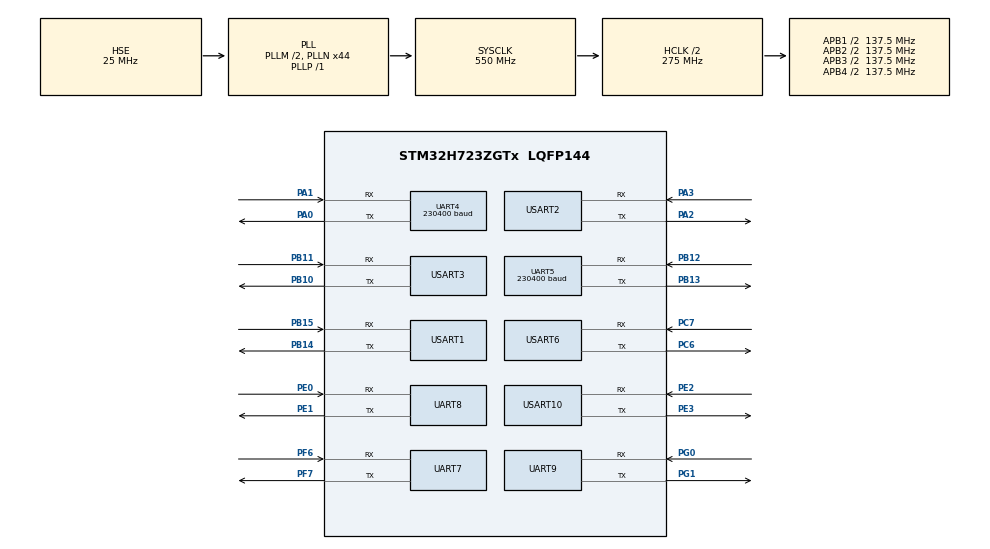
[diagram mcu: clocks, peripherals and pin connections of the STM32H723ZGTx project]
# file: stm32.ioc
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CORTEX_M7.default_mode_Activation=1
Dma.Request0=UART4_RX
Dma.Request1=UART5_TX
Dma.UART4_RX.0.Direction=DMA_PERIPH_TO_MEMORY
Dma.UART4_RX.0.EventEnable=DISABLE
Dma.UART4_RX.0.FIFOMode=DMA_FIFOMODE_DISABLE
Dma.UART4_RX.0.Instance=DMA1_Stream0
Dma.UART4_RX.0.MemDataAlignment=DMA_MDATAALIGN_BYTE
Dma.UART4_RX.0.MemInc=DMA_MINC_ENABLE
Dma.UART4_RX.0.Mode=DMA_CIRCULAR
Dma.UART4_RX.0.PeriphDataAlignment=DMA_PDATAALIGN_BYTE
Dma.UART4_RX.0.PeriphInc=DMA_PINC_DISABLE
Dma.UART4_RX.0.Polarity=HAL_DMAMUX_REQ_GEN_RISING
Dma.UART4_RX.0.Priority=DMA_PRIORITY_LOW
Dma.UART4_RX.0.RequestNumber=1
Dma.UART4_RX.0.SignalID=NONE
Dma.UART4_RX.0.SyncEnable=DISABLE
Dma.UART4_RX.0.SyncPolarity=HAL_DMAMUX_SYNC_NO_EVENT
Dma.UART4_RX.0.SyncRequestNumber=1
Dma.UART4_RX.0.SyncSignalID=NONE
Dma.UART5_TX.1.Direction=DMA_MEMORY_TO_PERIPH
Dma.UART5_TX.1.EventEnable=DISABLE
Dma.UART5_TX.1.FIFOMode=DMA_FIFOMODE_DISABLE
Dma.UART5_TX.1.Instance=DMA1_Stream1
Dma.UART5_TX.1.MemDataAlignment=DMA_MDATAALIGN_BYTE
Dma.UART5_TX.1.MemInc=DMA_MINC_ENABLE
Dma.UART5_TX.1.Mode=DMA_NORMAL
Dma.UART5_TX.1.PeriphDataAlignment=DMA_PDATAALIGN_BYTE
Dma.UART5_TX.1.PeriphInc=DMA_PINC_DISABLE
Dma.UART5_TX.1.Polarity=HAL_DMAMUX_REQ_GEN_RISING
Dma.UART5_TX.1.Priority=DMA_PRIORITY_LOW
Dma.UART5_TX.1.RequestNumber=1
Dma.UART5_TX.1.SignalID=NONE
Dma.UART5_TX.1.SyncEnable=DISABLE
Dma.UART5_TX.1.SyncPolarity=HAL_DMAMUX_SYNC_NO_EVENT
Dma.UART5_TX.1.SyncRequestNumber=1
Dma.UART5_TX.1.SyncSignalID=NONE
Mcu.Family=STM32H7
Mcu.Name=STM32H723ZGTx
Mcu.Package=LQFP144
NVIC.DMA1_Stream0_IRQn=true\:0\:0\:false\:false\:true\:false\:true\:true
NVIC.DMA1_Stream1_IRQn=true\:0\:0\:false\:false\:true\:false\:true\:true
NVIC.PriorityGroup=NVIC_PRIORITYGROUP_4
NVIC.UART4_IRQn=true\:0\:0\:false\:false\:true\:true\:true\:true
NVIC.UART5_IRQn=true\:0\:0\:false\:false\:true\:true\:true\:true
PA0.Mode=Asynchronous
PA0.Signal=UART4_TX
PA1.Mode=Asynchronous
PA1.Signal=UART4_RX
PA13(JTMS/SWDIO).Mode=Serial_Wire
PA13(JTMS/SWDIO).Signal=DEBUG_JTMS-SWDIO
PA14(JTCK/SWCLK).Mode=Serial_Wire
PA14(JTCK/SWCLK).Signal=DEBUG_JTCK-SWCLK
PA2.Mode=Asynchronous
PA2.Signal=USART2_TX
PA3.Mode=Asynchronous
PA3.Signal=USART2_RX
PB10.Mode=Asynchronous
PB10.Signal=USART3_TX
PB11.Mode=Asynchronous
PB11.Signal=USART3_RX
PB12.Mode=Asynchronous
PB12.Signal=UART5_RX
PB13.Mode=Asynchronous
PB13.Signal=UART5_TX
PB14.Mode=Asynchronous
PB14.Signal=USART1_TX
PB15.Mode=Asynchronous
PB15.Signal=USART1_RX
PC6.Mode=Asynchronous
PC6.Signal=USART6_TX
PC7.Mode=Asynchronous
PC7.Signal=USART6_RX
PE0.Mode=Asynchronous
PE0.Signal=UART8_RX
PE1.Mode=Asynchronous
PE1.Signal=UART8_TX
PE2.Mode=Asynchronous
PE2.Signal=USART10_RX
PE3.Mode=Asynchronous
PE3.Signal=USART10_TX
PF6.Mode=Asynchronous
PF6.Signal=UART7_RX
PF7.Mode=Asynchronous
PF7.Signal=UART7_TX
PG0.Mode=Asynchronous
PG0.Signal=UART9_RX
PG1.Mode=Asynchronous
PG1.Signal=UART9_TX
PH0-OSC_IN.Mode=HSE-External-Oscillator
PH0-OSC_IN.Signal=RCC_OSC_IN
PH1-OSC_OUT.Mode=HSE-External-Oscillator
PH1-OSC_OUT.Signal=RCC_OSC_OUT
ProjectManager.HeapSize=0x200
ProjectManager.StackSize=0x400
ProjectManager.TargetToolchain=CMake
RCC.ADCFreq_Value=50390625
RCC.APB1Freq_Value=137500000
RCC.APB2Freq_Value=137500000
RCC.APB3Freq_Value=137500000
RCC.APB4Freq_Value=137500000
RCC.CortexFreq_Value=550000000
RCC.D1PPRE=RCC_APB3_DIV2
RCC.D2PPRE1=RCC_APB1_DIV2
RCC.D2PPRE2=RCC_APB2_DIV2
RCC.D3PPRE=RCC_APB4_DIV2
RCC.DIVM1=2
RCC.DIVN1=44
RCC.DIVP1=1
RCC.HCLKFreq_Value=275000000
RCC.HPRE=RCC_HCLK_DIV2
RCC.PLL2FRACN=0
RCC.PLL3FRACN=0
RCC.PLLFRACN=0
RCC.PLLSourceVirtual=RCC_PLLSOURCE_HSE
RCC.SYSCLKFreq_VALUE=550000000
RCC.SYSCLKSource=RCC_SYSCLKSOURCE_PLLCLK
RCC.USBFreq_Value=275000000
UART4.BaudRate=230400
UART5.BaudRate=230400
USART1.VirtualMode-Asynchronous=VM_ASYNC
USART10.VirtualMode-Asynchronous=VM_ASYNC
USART2.VirtualMode-Asynchronous=VM_ASYNC
USART3.VirtualMode-Asynchronous=VM_ASYNC
USART6.VirtualMode-Asynchronous=VM_ASYNC
VP_MEMORYMAP_VS_MEMORYMAP.Mode=CurAppReg
board=custom

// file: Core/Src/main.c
/* USER CODE BEGIN Header */
/**
  ******************************************************************************
  * @file           : main.c
  * @brief          : Main program body
  ******************************************************************************
  * @attention
  *
  * Copyright (c) 2026 STMicroelectronics.
  * All rights reserved.
  *
  * This software is licensed under terms that can be found in the LICENSE file
  * in the root directory of this software component.
  * If no LICENSE file comes with this software, it is provided AS-IS.
  *
  ******************************************************************************
  */
/* USER CODE END Header */
#include "main.h"

/* USER CODE BEGIN PTD */

typedef struct
{
  uint16_t speed_us;
  uint16_t start_angle_cdeg;
  uint16_t distance_mm[16];
  uint8_t intensity[16];
  uint16_t stop_angle_cdeg;
} N10_ScanFrame;

/* USER CODE END PTD */

/* USER CODE BEGIN PD */

#define N10_DMA_RX_BUFFER_SIZE  256U
#define N10_FRAME_SIZE           58U
#define N10_POINTS_PER_FRAME     16U
#define ESP_UART_TX_RING_SIZE    4096U

/* USER CODE END PD */

UART_HandleTypeDef huart4;
UART_HandleTypeDef huart5;
UART_HandleTypeDef huart7;
UART_HandleTypeDef huart8;
UART_HandleTypeDef huart9;
UART_HandleTypeDef huart1;
UART_HandleTypeDef huart2;
UART_HandleTypeDef huart3;
UART_HandleTypeDef huart6;
UART_HandleTypeDef huart10;
DMA_HandleTypeDef hdma_uart4_rx;
DMA_HandleTypeDef hdma_uart5_tx;

/* USER CODE BEGIN PV */

/* DMA1 cannot access the default DTCM .bss on STM32H723.  The linker places
 * this buffer in RAM_D2, which is accessible by DMA1. */
uint8_t n10_dma_rx_buffer[N10_DMA_RX_BUFFER_SIZE]
    __attribute__((section(".dma_buffer"), aligned(32)));
uint8_t esp_uart_tx_ring[ESP_UART_TX_RING_SIZE]
    __attribute__((section(".dma_buffer"), aligned(32)));

volatile uint32_t n10_valid_frame_count;
volatile uint32_t n10_invalid_frame_count;
volatile N10_ScanFrame n10_last_frame;
volatile uint32_t esp_uart_tx_frame_count;
volatile uint32_t esp_uart_tx_overrun_count;
volatile uint32_t esp_uart_tx_error_count;

static uint8_t n10_frame[N10_FRAME_SIZE];
static uint16_t n10_dma_last_position;
static uint8_t n10_frame_index;
static uint16_t esp_uart_tx_head;
static uint16_t esp_uart_tx_tail;
static uint16_t esp_uart_tx_dma_length;
static uint8_t esp_uart_tx_busy;

/* USER CODE END PV */

void SystemClock_Config(void);
static void MPU_Config(void);
static void MX_GPIO_Init(void);
static void MX_DMA_Init(void);
static void MX_UART4_Init(void);
static void MX_UART5_Init(void);
static void MX_UART7_Init(void);
static void MX_UART8_Init(void);
static void MX_UART9_Init(void);
static void MX_USART1_UART_Init(void);
static void MX_USART2_UART_Init(void);
static void MX_USART3_UART_Init(void);
static void MX_USART6_UART_Init(void);
static void MX_USART10_UART_Init(void);
/* USER CODE BEGIN PFP */

static void N10_StartReception(void);
static void N10_ProcessDmaBytes(uint16_t position);
static void N10_ProcessByte(uint8_t byte);
static void N10_DecodeFrame(const uint8_t *frame);
static void ESP_QueueRawN10Frame(const uint8_t *frame);
static void ESP_StartQueuedTransmit(void);

/* USER CODE END PFP */

/* USER CODE BEGIN 0 */

static void N10_StartReception(void)
{
  n10_dma_last_position = 0U;
  n10_frame_index = 0U;

  if (HAL_UARTEx_ReceiveToIdle_DMA(&huart4, n10_dma_rx_buffer,
                                   N10_DMA_RX_BUFFER_SIZE) != HAL_OK)
  {
    Error_Handler();
  }

  /* The N10 is a continuous stream; half-transfer callbacks add no value. */
  __HAL_DMA_DISABLE_IT(huart4.hdmarx, DMA_IT_HT);
}

static void N10_ProcessDmaBytes(uint16_t position)
{
  uint16_t index;

  if (position > N10_DMA_RX_BUFFER_SIZE || position == n10_dma_last_position)
  {
    return;
  }

  if (position > n10_dma_last_position)
  {
    for (index = n10_dma_last_position; index < position; ++index)
    {
      N10_ProcessByte(n10_dma_rx_buffer[index]);
    }
  }
  else
  {
    for (index = n10_dma_last_position; index < N10_DMA_RX_BUFFER_SIZE; ++index)
    {
      N10_ProcessByte(n10_dma_rx_buffer[index]);
    }
    for (index = 0U; index < position; ++index)
    {
      N10_ProcessByte(n10_dma_rx_buffer[index]);
    }
  }

  n10_dma_last_position = position;
}

static void N10_ProcessByte(uint8_t byte)
{
  if (n10_frame_index == 0U)
  {
    if (byte == 0xA5U)
    {
      n10_frame[0] = byte;
      n10_frame_index = 1U;
    }
    return;
  }

  if (n10_frame_index == 1U)
  {
    if (byte == 0x5AU)
    {
      n10_frame[1] = byte;
      n10_frame_index = 2U;
    }
    else if (byte == 0xA5U)
    {
      n10_frame[0] = byte;
    }
    else
    {
      n10_frame_index = 0U;
    }
    return;
  }

  n10_frame[n10_frame_index++] = byte;

  if (n10_frame_index == 3U && n10_frame[2] != N10_FRAME_SIZE)
  {
    ++n10_invalid_frame_count;
    n10_frame_index = 0U;
    return;
  }

  if (n10_frame_index == N10_FRAME_SIZE)
  {
    uint8_t checksum = 0U;
    uint16_t index;

    for (index = 0U; index < (N10_FRAME_SIZE - 1U); ++index)
    {
      checksum = (uint8_t)(checksum + n10_frame[index]);
    }

    if (checksum == n10_frame[N10_FRAME_SIZE - 1U])
    {
      N10_DecodeFrame(n10_frame);
      ESP_QueueRawN10Frame(n10_frame);
      ++n10_valid_frame_count;
    }
    else
    {
      ++n10_invalid_frame_count;
    }

    n10_frame_index = 0U;
  }
}

static void N10_DecodeFrame(const uint8_t *frame)
{
  uint16_t point;
  uint16_t offset;

  n10_last_frame.speed_us = ((uint16_t)frame[3] << 8U) | frame[4];
  n10_last_frame.start_angle_cdeg = ((uint16_t)frame[5] << 8U) | frame[6];

  for (point = 0U; point < N10_POINTS_PER_FRAME; ++point)
  {
    offset = 7U + (point * 3U);
    n10_last_frame.distance_mm[point] = ((uint16_t)frame[offset] << 8U) |
                                         frame[offset + 1U];
    n10_last_frame.intensity[point] = frame[offset + 2U];
  }

  n10_last_frame.stop_angle_cdeg = ((uint16_t)frame[55] << 8U) | frame[56];
}

/* Queue complete, checksum-verified N10 frames for the ESP32-C3.  The queue
 * keeps UART4's receive interrupt short, so the lidar stream is not stalled
 * while UART5 is transmitting the previous frame. */
static void ESP_QueueRawN10Frame(const uint8_t *frame)
{
  uint16_t index;
  uint16_t free_bytes;
  uint32_t primask = __get_PRIMASK();

  __disable_irq();
  if (esp_uart_tx_head >= esp_uart_tx_tail)
  {
    free_bytes = (ESP_UART_TX_RING_SIZE - esp_uart_tx_head) + esp_uart_tx_tail - 1U;
  }
  else
  {
    free_bytes = esp_uart_tx_tail - esp_uart_tx_head - 1U;
  }

  if (free_bytes < N10_FRAME_SIZE)
  {
    ++esp_uart_tx_overrun_count;
  }
  else
  {
    for (index = 0U; index < N10_FRAME_SIZE; ++index)
    {
      esp_uart_tx_ring[esp_uart_tx_head] = frame[index];
      esp_uart_tx_head = (esp_uart_tx_head + 1U) % ESP_UART_TX_RING_SIZE;
    }
    ++esp_uart_tx_frame_count;
    ESP_StartQueuedTransmit();
  }

  if (primask == 0U)
  {
    __enable_irq();
  }
}

static void ESP_StartQueuedTransmit(void)
{
  uint16_t length;

  if (esp_uart_tx_busy != 0U || esp_uart_tx_head == esp_uart_tx_tail)
  {
    return;
  }

  if (esp_uart_tx_head > esp_uart_tx_tail)
  {
    length = esp_uart_tx_head - esp_uart_tx_tail;
  }
  else
  {
    length = ESP_UART_TX_RING_SIZE - esp_uart_tx_tail;
  }

  esp_uart_tx_busy = 1U;
  esp_uart_tx_dma_length = length;
  if (HAL_UART_Transmit_DMA(&huart5, &esp_uart_tx_ring[esp_uart_tx_tail], length) != HAL_OK)
  {
    esp_uart_tx_busy = 0U;
    ++esp_uart_tx_error_count;
  }
}

void HAL_UARTEx_RxEventCallback(UART_HandleTypeDef *huart, uint16_t Size)
{
  if (huart->Instance == UART4)
  {
    N10_ProcessDmaBytes(Size);
  }
}

void HAL_UART_TxCpltCallback(UART_HandleTypeDef *huart)
{
  if (huart->Instance == UART5)
  {
    esp_uart_tx_tail = (esp_uart_tx_tail + esp_uart_tx_dma_length) % ESP_UART_TX_RING_SIZE;
    esp_uart_tx_busy = 0U;
    ESP_StartQueuedTransmit();
  }
}

/* USER CODE END 0 */

int main(void)
{

  /* MPU Configuration--------------------------------------------------------*/
  MPU_Config();

  /* MCU Configuration--------------------------------------------------------*/

  /* Reset of all peripherals, Initializes the Flash interface and the Systick. */
  HAL_Init();

  /* Configure the system clock */
  SystemClock_Config();

  /* Initialize all configured peripherals */
  MX_GPIO_Init();
  MX_DMA_Init();
  MX_UART4_Init();
  MX_UART5_Init();
  MX_UART7_Init();
  MX_UART8_Init();
  MX_UART9_Init();
  MX_USART1_UART_Init();
  MX_USART2_UART_Init();
  MX_USART3_UART_Init();
  MX_USART6_UART_Init();
  MX_USART10_UART_Init();
  /* USER CODE BEGIN 2 */

  N10_StartReception();

  /* USER CODE END 2 */

  /* Infinite loop */
  while (1)
  {

  }
}

void SystemClock_Config(void)
{
  RCC_OscInitTypeDef RCC_OscInitStruct = {0};
  RCC_ClkInitTypeDef RCC_ClkInitStruct = {0};

  /** Supply configuration update enable
  */
  HAL_PWREx_ConfigSupply(PWR_LDO_SUPPLY);

  /** Configure the main internal regulator output voltage
  */
  __HAL_PWR_VOLTAGESCALING_CONFIG(PWR_REGULATOR_VOLTAGE_SCALE0);

  while(!__HAL_PWR_GET_FLAG(PWR_FLAG_VOSRDY)) {}

  /** Initializes the RCC Oscillators according to the specified parameters
  * in the RCC_OscInitTypeDef structure.
  */
  RCC_OscInitStruct.OscillatorType = RCC_OSCILLATORTYPE_HSE;
  RCC_OscInitStruct.HSEState = RCC_HSE_ON;
  RCC_OscInitStruct.PLL.PLLState = RCC_PLL_ON;
  RCC_OscInitStruct.PLL.PLLSource = RCC_PLLSOURCE_HSE;
  RCC_OscInitStruct.PLL.PLLM = 2;
  RCC_OscInitStruct.PLL.PLLN = 44;
  RCC_OscInitStruct.PLL.PLLP = 1;
  RCC_OscInitStruct.PLL.PLLQ = 2;
  RCC_OscInitStruct.PLL.PLLR = 2;
  RCC_OscInitStruct.PLL.PLLRGE = RCC_PLL1VCIRANGE_3;
  RCC_OscInitStruct.PLL.PLLVCOSEL = RCC_PLL1VCOWIDE;
  RCC_OscInitStruct.PLL.PLLFRACN = 0;
  if (HAL_RCC_OscConfig(&RCC_OscInitStruct) != HAL_OK)
  {
    Error_Handler();
  }

  /** Initializes the CPU, AHB and APB buses clocks
  */
  RCC_ClkInitStruct.ClockType = RCC_CLOCKTYPE_HCLK|RCC_CLOCKTYPE_SYSCLK
                              |RCC_CLOCKTYPE_PCLK1|RCC_CLOCKTYPE_PCLK2
                              |RCC_CLOCKTYPE_D3PCLK1|RCC_CLOCKTYPE_D1PCLK1;
  RCC_ClkInitStruct.SYSCLKSource = RCC_SYSCLKSOURCE_PLLCLK;
  RCC_ClkInitStruct.SYSCLKDivider = RCC_SYSCLK_DIV1;
  RCC_ClkInitStruct.AHBCLKDivider = RCC_HCLK_DIV2;
  RCC_ClkInitStruct.APB3CLKDivider = RCC_APB3_DIV2;
  RCC_ClkInitStruct.APB1CLKDivider = RCC_APB1_DIV2;
  RCC_ClkInitStruct.APB2CLKDivider = RCC_APB2_DIV2;
  RCC_ClkInitStruct.APB4CLKDivider = RCC_APB4_DIV2;

  if (HAL_RCC_ClockConfig(&RCC_ClkInitStruct, FLASH_LATENCY_3) != HAL_OK)
  {
    Error_Handler();
  }
}

static void MX_UART4_Init(void)
{

  huart4.Instance = UART4;
  huart4.Init.BaudRate = 230400;
  huart4.Init.WordLength = UART_WORDLENGTH_8B;
  huart4.Init.StopBits = UART_STOPBITS_1;
  huart4.Init.Parity = UART_PARITY_NONE;
  huart4.Init.Mode = UART_MODE_TX_RX;
  huart4.Init.HwFlowCtl = UART_HWCONTROL_NONE;
  huart4.Init.OverSampling = UART_OVERSAMPLING_16;
  huart4.Init.OneBitSampling = UART_ONE_BIT_SAMPLE_DISABLE;
  huart4.Init.ClockPrescaler = UART_PRESCALER_DIV1;
  huart4.AdvancedInit.AdvFeatureInit = UART_ADVFEATURE_NO_INIT;
  if (HAL_UART_Init(&huart4) != HAL_OK)
  {
    Error_Handler();
  }
  if (HAL_UARTEx_SetTxFifoThreshold(&huart4, UART_TXFIFO_THRESHOLD_1_8) != HAL_OK)
  {
    Error_Handler();
  }
  if (HAL_UARTEx_SetRxFifoThreshold(&huart4, UART_RXFIFO_THRESHOLD_1_8) != HAL_OK)
  {
    Error_Handler();
  }
  if (HAL_UARTEx_DisableFifoMode(&huart4) != HAL_OK)
  {
    Error_Handler();
  }

}

static void MX_UART5_Init(void)
{

  huart5.Instance = UART5;
  huart5.Init.BaudRate = 230400;
  huart5.Init.WordLength = UART_WORDLENGTH_8B;
  huart5.Init.StopBits = UART_STOPBITS_1;
  huart5.Init.Parity = UART_PARITY_NONE;
  huart5.Init.Mode = UART_MODE_TX_RX;
  huart5.Init.HwFlowCtl = UART_HWCONTROL_NONE;
  huart5.Init.OverSampling = UART_OVERSAMPLING_16;
  huart5.Init.OneBitSampling = UART_ONE_BIT_SAMPLE_DISABLE;
  huart5.Init.ClockPrescaler = UART_PRESCALER_DIV1;
  huart5.AdvancedInit.AdvFeatureInit = UART_ADVFEATURE_NO_INIT;
  if (HAL_UART_Init(&huart5) != HAL_OK)
  {
    Error_Handler();
  }
  if (HAL_UARTEx_SetTxFifoThreshold(&huart5, UART_TXFIFO_THRESHOLD_1_8) != HAL_OK)
  {
    Error_Handler();
  }
  if (HAL_UARTEx_SetRxFifoThreshold(&huart5, UART_RXFIFO_THRESHOLD_1_8) != HAL_OK)
  {
    Error_Handler();
  }
  if (HAL_UARTEx_DisableFifoMode(&huart5) != HAL_OK)
  {
    Error_Handler();
  }

}

static void MX_UART7_Init(void)
{

  huart7.Instance = UART7;
  huart7.Init.BaudRate = 115200;
  huart7.Init.WordLength = UART_WORDLENGTH_8B;
  huart7.Init.StopBits = UART_STOPBITS_1;
  huart7.Init.Parity = UART_PARITY_NONE;
  huart7.Init.Mode = UART_MODE_TX_RX;
  huart7.Init.HwFlowCtl = UART_HWCONTROL_NONE;
  huart7.Init.OverSampling = UART_OVERSAMPLING_16;
  huart7.Init.OneBitSampling = UART_ONE_BIT_SAMPLE_DISABLE;
  huart7.Init.ClockPrescaler = UART_PRESCALER_DIV1;
  huart7.AdvancedInit.AdvFeatureInit = UART_ADVFEATURE_NO_INIT;
  if (HAL_UART_Init(&huart7) != HAL_OK)
  {
    Error_Handler();
  }
  if (HAL_UARTEx_SetTxFifoThreshold(&huart7, UART_TXFIFO_THRESHOLD_1_8) != HAL_OK)
  {
    Error_Handler();
  }
  if (HAL_UARTEx_SetRxFifoThreshold(&huart7, UART_RXFIFO_THRESHOLD_1_8) != HAL_OK)
  {
    Error_Handler();
  }
  if (HAL_UARTEx_DisableFifoMode(&huart7) != HAL_OK)
  {
    Error_Handler();
  }

}

static void MX_UART8_Init(void)
{

  huart8.Instance = UART8;
  huart8.Init.BaudRate = 115200;
  huart8.Init.WordLength = UART_WORDLENGTH_8B;
  huart8.Init.StopBits = UART_STOPBITS_1;
  huart8.Init.Parity = UART_PARITY_NONE;
  huart8.Init.Mode = UART_MODE_TX_RX;
  huart8.Init.HwFlowCtl = UART_HWCONTROL_NONE;
  huart8.Init.OverSampling = UART_OVERSAMPLING_16;
  huart8.Init.OneBitSampling = UART_ONE_BIT_SAMPLE_DISABLE;
  huart8.Init.ClockPrescaler = UART_PRESCALER_DIV1;
  huart8.AdvancedInit.AdvFeatureInit = UART_ADVFEATURE_NO_INIT;
  if (HAL_UART_Init(&huart8) != HAL_OK)
  {
    Error_Handler();
  }
  if (HAL_UARTEx_SetTxFifoThreshold(&huart8, UART_TXFIFO_THRESHOLD_1_8) != HAL_OK)
  {
    Error_Handler();
  }
  if (HAL_UARTEx_SetRxFifoThreshold(&huart8, UART_RXFIFO_THRESHOLD_1_8) != HAL_OK)
  {
    Error_Handler();
  }
  if (HAL_UARTEx_DisableFifoMode(&huart8) != HAL_OK)
  {
    Error_Handler();
  }

}

static void MX_UART9_Init(void)
{

  huart9.Instance = UART9;
  huart9.Init.BaudRate = 115200;
  huart9.Init.WordLength = UART_WORDLENGTH_8B;
  huart9.Init.StopBits = UART_STOPBITS_1;
  huart9.Init.Parity = UART_PARITY_NONE;
  huart9.Init.Mode = UART_MODE_TX_RX;
  huart9.Init.HwFlowCtl = UART_HWCONTROL_NONE;
  huart9.Init.OverSampling = UART_OVERSAMPLING_16;
  huart9.Init.OneBitSampling = UART_ONE_BIT_SAMPLE_DISABLE;
  huart9.Init.ClockPrescaler = UART_PRESCALER_DIV1;
  huart9.AdvancedInit.AdvFeatureInit = UART_ADVFEATURE_NO_INIT;
  if (HAL_UART_Init(&huart9) != HAL_OK)
  {
    Error_Handler();
  }
  if (HAL_UARTEx_SetTxFifoThreshold(&huart9, UART_TXFIFO_THRESHOLD_1_8) != HAL_OK)
  {
    Error_Handler();
  }
  if (HAL_UARTEx_SetRxFifoThreshold(&huart9, UART_RXFIFO_THRESHOLD_1_8) != HAL_OK)
  {
    Error_Handler();
  }
  if (HAL_UARTEx_DisableFifoMode(&huart9) != HAL_OK)
  {
    Error_Handler();
  }

}

static void MX_USART1_UART_Init(void)
{

  huart1.Instance = USART1;
  huart1.Init.BaudRate = 115200;
  huart1.Init.WordLength = UART_WORDLENGTH_8B;
  huart1.Init.StopBits = UART_STOPBITS_1;
  huart1.Init.Parity = UART_PARITY_NONE;
  huart1.Init.Mode = UART_MODE_TX_RX;
  huart1.Init.HwFlowCtl = UART_HWCONTROL_NONE;
  huart1.Init.OverSampling = UART_OVERSAMPLING_16;
  huart1.Init.OneBitSampling = UART_ONE_BIT_SAMPLE_DISABLE;
  huart1.Init.ClockPrescaler = UART_PRESCALER_DIV1;
  huart1.AdvancedInit.AdvFeatureInit = UART_ADVFEATURE_NO_INIT;
  if (HAL_UART_Init(&huart1) != HAL_OK)
  {
    Error_Handler();
  }
  if (HAL_UARTEx_SetTxFifoThreshold(&huart1, UART_TXFIFO_THRESHOLD_1_8) != HAL_OK)
  {
    Error_Handler();
  }
  if (HAL_UARTEx_SetRxFifoThreshold(&huart1, UART_RXFIFO_THRESHOLD_1_8) != HAL_OK)
  {
    Error_Handler();
  }
  if (HAL_UARTEx_DisableFifoMode(&huart1) != HAL_OK)
  {
    Error_Handler();
  }

}

static void MX_USART2_UART_Init(void)
{

  huart2.Instance = USART2;
  huart2.Init.BaudRate = 115200;
  huart2.Init.WordLength = UART_WORDLENGTH_8B;
  huart2.Init.StopBits = UART_STOPBITS_1;
  huart2.Init.Parity = UART_PARITY_NONE;
  huart2.Init.Mode = UART_MODE_TX_RX;
  huart2.Init.HwFlowCtl = UART_HWCONTROL_NONE;
  huart2.Init.OverSampling = UART_OVERSAMPLING_16;
  huart2.Init.OneBitSampling = UART_ONE_BIT_SAMPLE_DISABLE;
  huart2.Init.ClockPrescaler = UART_PRESCALER_DIV1;
  huart2.AdvancedInit.AdvFeatureInit = UART_ADVFEATURE_NO_INIT;
  if (HAL_UART_Init(&huart2) != HAL_OK)
  {
    Error_Handler();
  }
  if (HAL_UARTEx_SetTxFifoThreshold(&huart2, UART_TXFIFO_THRESHOLD_1_8) != HAL_OK)
  {
    Error_Handler();
  }
  if (HAL_UARTEx_SetRxFifoThreshold(&huart2, UART_RXFIFO_THRESHOLD_1_8) != HAL_OK)
  {
    Error_Handler();
  }
  if (HAL_UARTEx_DisableFifoMode(&huart2) != HAL_OK)
  {
    Error_Handler();
  }

}

static void MX_USART3_UART_Init(void)
{

  huart3.Instance = USART3;
  huart3.Init.BaudRate = 115200;
  huart3.Init.WordLength = UART_WORDLENGTH_8B;
  huart3.Init.StopBits = UART_STOPBITS_1;
  huart3.Init.Parity = UART_PARITY_NONE;
  huart3.Init.Mode = UART_MODE_TX_RX;
  huart3.Init.HwFlowCtl = UART_HWCONTROL_NONE;
  huart3.Init.OverSampling = UART_OVERSAMPLING_16;
  huart3.Init.OneBitSampling = UART_ONE_BIT_SAMPLE_DISABLE;
  huart3.Init.ClockPrescaler = UART_PRESCALER_DIV1;
  huart3.AdvancedInit.AdvFeatureInit = UART_ADVFEATURE_NO_INIT;
  if (HAL_UART_Init(&huart3) != HAL_OK)
  {
    Error_Handler();
  }
  if (HAL_UARTEx_SetTxFifoThreshold(&huart3, UART_TXFIFO_THRESHOLD_1_8) != HAL_OK)
  {
    Error_Handler();
  }
  if (HAL_UARTEx_SetRxFifoThreshold(&huart3, UART_RXFIFO_THRESHOLD_1_8) != HAL_OK)
  {
    Error_Handler();
  }
  if (HAL_UARTEx_DisableFifoMode(&huart3) != HAL_OK)
  {
    Error_Handler();
  }

}

static void MX_USART6_UART_Init(void)
{

  huart6.Instance = USART6;
  huart6.Init.BaudRate = 115200;
  huart6.Init.WordLength = UART_WORDLENGTH_8B;
  huart6.Init.StopBits = UART_STOPBITS_1;
  huart6.Init.Parity = UART_PARITY_NONE;
  huart6.Init.Mode = UART_MODE_TX_RX;
  huart6.Init.HwFlowCtl = UART_HWCONTROL_NONE;
  huart6.Init.OverSampling = UART_OVERSAMPLING_16;
  huart6.Init.OneBitSampling = UART_ONE_BIT_SAMPLE_DISABLE;
  huart6.Init.ClockPrescaler = UART_PRESCALER_DIV1;
  huart6.AdvancedInit.AdvFeatureInit = UART_ADVFEATURE_NO_INIT;
  if (HAL_UART_Init(&huart6) != HAL_OK)
  {
    Error_Handler();
  }
  if (HAL_UARTEx_SetTxFifoThreshold(&huart6, UART_TXFIFO_THRESHOLD_1_8) != HAL_OK)
  {
    Error_Handler();
  }
  if (HAL_UARTEx_SetRxFifoThreshold(&huart6, UART_RXFIFO_THRESHOLD_1_8) != HAL_OK)
  {
    Error_Handler();
  }
  if (HAL_UARTEx_DisableFifoMode(&huart6) != HAL_OK)
  {
    Error_Handler();
  }

}

static void MX_USART10_UART_Init(void)
{

  huart10.Instance = USART10;
  huart10.Init.BaudRate = 115200;
  huart10.Init.WordLength = UART_WORDLENGTH_8B;
  huart10.Init.StopBits = UART_STOPBITS_1;
  huart10.Init.Parity = UART_PARITY_NONE;
  huart10.Init.Mode = UART_MODE_TX_RX;
  huart10.Init.HwFlowCtl = UART_HWCONTROL_NONE;
  huart10.Init.OverSampling = UART_OVERSAMPLING_16;
  huart10.Init.OneBitSampling = UART_ONE_BIT_SAMPLE_DISABLE;
  huart10.Init.ClockPrescaler = UART_PRESCALER_DIV1;
  huart10.AdvancedInit.AdvFeatureInit = UART_ADVFEATURE_NO_INIT;
  if (HAL_UART_Init(&huart10) != HAL_OK)
  {
    Error_Handler();
  }
  if (HAL_UARTEx_SetTxFifoThreshold(&huart10, UART_TXFIFO_THRESHOLD_1_8) != HAL_OK)
  {
    Error_Handler();
  }
  if (HAL_UARTEx_SetRxFifoThreshold(&huart10, UART_RXFIFO_THRESHOLD_1_8) != HAL_OK)
  {
    Error_Handler();
  }
  if (HAL_UARTEx_DisableFifoMode(&huart10) != HAL_OK)
  {
    Error_Handler();
  }

}

static void MX_DMA_Init(void)
{

  /* DMA controller clock enable */
  __HAL_RCC_DMA1_CLK_ENABLE();

  /* DMA interrupt init */
  /* DMA1_Stream0_IRQn interrupt configuration */
  HAL_NVIC_SetPriority(DMA1_Stream0_IRQn, 0, 0);
  HAL_NVIC_EnableIRQ(DMA1_Stream0_IRQn);
  /* DMA1_Stream1_IRQn interrupt configuration */
  HAL_NVIC_SetPriority(DMA1_Stream1_IRQn, 0, 0);
  HAL_NVIC_EnableIRQ(DMA1_Stream1_IRQn);

}

static void MX_GPIO_Init(void)
{

  /* GPIO Ports Clock Enable */
  __HAL_RCC_GPIOE_CLK_ENABLE();
  __HAL_RCC_GPIOF_CLK_ENABLE();
  __HAL_RCC_GPIOH_CLK_ENABLE();
  __HAL_RCC_GPIOA_CLK_ENABLE();
  __HAL_RCC_GPIOG_CLK_ENABLE();
  __HAL_RCC_GPIOB_CLK_ENABLE();
  __HAL_RCC_GPIOC_CLK_ENABLE();

}

 /* MPU Configuration */

void MPU_Config(void)
{
  MPU_Region_InitTypeDef MPU_InitStruct = {0};

  /* Disables the MPU */
  HAL_MPU_Disable();

  /** Initializes and configures the Region and the memory to be protected
  */
  MPU_InitStruct.Enable = MPU_REGION_ENABLE;
  MPU_InitStruct.Number = MPU_REGION_NUMBER0;
  MPU_InitStruct.BaseAddress = 0x0;
  MPU_InitStruct.Size = MPU_REGION_SIZE_4GB;
  MPU_InitStruct.SubRegionDisable = 0x87;
  MPU_InitStruct.TypeExtField = MPU_TEX_LEVEL0;
  MPU_InitStruct.AccessPermission = MPU_REGION_NO_ACCESS;
  MPU_InitStruct.DisableExec = MPU_INSTRUCTION_ACCESS_DISABLE;
  MPU_InitStruct.IsShareable = MPU_ACCESS_SHAREABLE;
  MPU_InitStruct.IsCacheable = MPU_ACCESS_NOT_CACHEABLE;
  MPU_InitStruct.IsBufferable = MPU_ACCESS_NOT_BUFFERABLE;

  HAL_MPU_ConfigRegion(&MPU_InitStruct);
  /* Enables the MPU */
  HAL_MPU_Enable(MPU_PRIVILEGED_DEFAULT);

}

void Error_Handler(void)
{
  __disable_irq();
  while (1)
  {
  }
}
